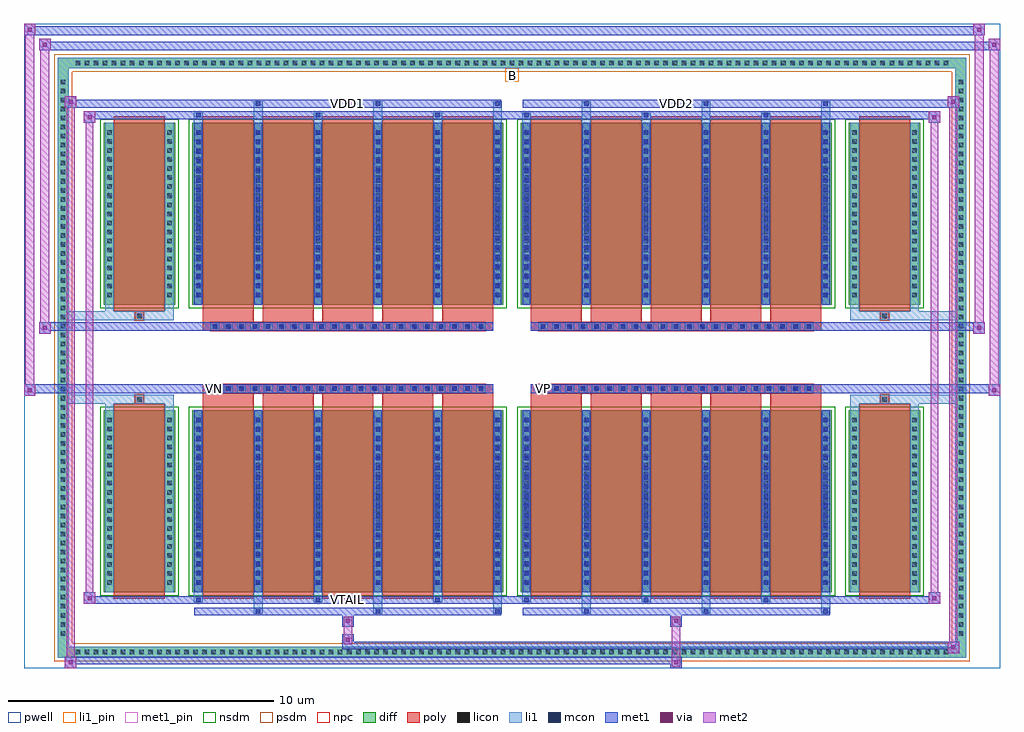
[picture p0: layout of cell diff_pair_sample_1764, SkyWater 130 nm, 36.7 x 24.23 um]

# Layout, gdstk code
import gdstk
lib = gdstk.Library(unit=1e-6, precision=5e-09)
def R(c, l, rs):  # rectangles x0, y0, x1, y1
    for r in rs: c.add(gdstk.rectangle(r[:2], r[2:], *l))
def A(c, l, x, y, w, h, nx, ny, dx, dy):  # array of equal rectangles
    R(c, l, [(x+i*dx, y+j*dy, x+i*dx+w, y+j*dy+h) for i in range(nx) for j in range(ny)])
def P(c, l, *ps):  # polygons
    for p in ps: c.add(gdstk.Polygon(p, *l))
pwell = (64, 44)
diff = (65, 20)
poly = (66, 20)
licon = (66, 44)
li1_pin = (67, 16)
li1 = (67, 20)
mcon = (67, 44)
met1_pin = (68, 16)
met1 = (68, 20)
via = (68, 44)
met2 = (69, 20)
nsdm = (93, 44)
psdm = (94, 20)
npc = (95, 20)

diff_pair_sample_1764 = lib.new_cell('diff_pair_sample_1764')
R(diff_pair_sample_1764, pwell, [(-18.35,-11.68,18.35,12.55), (-15.67,-9.87,-0.01,-0.805), (0.01,-9.87,15.67,-0.805), (-15.67,0.805,-0.01,9.87), (0.01,0.805,15.67,9.87)])
A(diff_pair_sample_1764, diff, -16.525, -11.28, 0.41, 0.41, 97, 2, 0.34, 22.15)
A(diff_pair_sample_1764, diff, -17.08, -10.575, 0.41, 0.41, 1, 62, 0, 0.34)
A(diff_pair_sample_1764, diff, 16.67, -10.575, 0.41, 0.41, 1, 62, 0, 0.34)
R(diff_pair_sample_1764, diff, [(-16.525,-11.28,16.525,-10.87), (-17.08,-10.575,-16.67,10.575), (16.67,-10.575,17.08,10.575), (-15.36,-8.825,-12.66,-1.985), (-12.02,-8.825,-0.32,-1.985), (0.32,-8.825,12.02,-1.985), (12.66,-8.825,15.36,-1.985), (-15.36,1.985,-12.66,8.825), (-12.02,1.985,-0.32,8.825), (0.32,1.985,12.02,8.825), (12.66,1.985,15.36,8.825), (-16.525,10.87,16.525,11.28)])
P(diff_pair_sample_1764, diff, [(17.08,11.28),(-17.08,11.28),(-17.08,-10.87),(-16.67,-10.87),(-16.67,10.87),(16.67,10.87),(16.67,-10.87),(-16.67,-10.87),(-17.08,-10.87),(-17.08,-11.28),(17.08,-11.28)])
A(diff_pair_sample_1764, poly, -11.63, -9.075, 1.92, 7.34, 5, 2, 2.25, 10.81)
A(diff_pair_sample_1764, poly, 0.71, -9.075, 1.92, 7.34, 5, 2, 2.25, 10.81)
A(diff_pair_sample_1764, poly, -11.63, -1.735, 1.92, 0.4, 5, 2, 2.25, 3.07)
A(diff_pair_sample_1764, poly, 0.71, -1.735, 1.92, 0.4, 5, 2, 2.25, 3.07)
A(diff_pair_sample_1764, poly, -11.335, -1.335, 0.33, 0.33, 21, 2, 0.5, 2.34)
A(diff_pair_sample_1764, poly, 1.005, -1.335, 0.33, 0.33, 21, 2, 0.5, 2.34)
R(diff_pair_sample_1764, poly, [(-14.97,-9.075,-13.05,-1.735), (13.05,-9.075,14.97,-1.735), (-14.175,-1.735,-13.845,-1.405), (-14.175,-1.735,-13.845,-1.405), (13.845,-1.735,14.175,-1.405), (13.845,-1.735,14.175,-1.405), (-11.63,-1.335,-0.71,-1.005), (0.71,-1.335,11.63,-1.005), (-11.63,1.005,-0.71,1.335), (0.71,1.005,11.63,1.335), (-14.175,1.405,-13.845,1.735), (-14.175,1.405,-13.845,1.735), (13.845,1.405,14.175,1.735), (13.845,1.405,14.175,1.735), (-14.97,1.735,-13.05,9.075), (13.05,1.735,14.97,9.075)])
A(diff_pair_sample_1764, licon, -16.405, -11.16, 0.17, 0.17, 97, 2, 0.34, 22.15)
A(diff_pair_sample_1764, licon, -16.96, -10.455, 0.17, 0.17, 1, 62, 0, 0.34)
A(diff_pair_sample_1764, licon, 16.79, -10.455, 0.17, 0.17, 1, 62, 0, 0.34)
A(diff_pair_sample_1764, licon, -15.22, -8.55, 0.17, 0.17, 1, 19, 0, 0.34)
A(diff_pair_sample_1764, licon, -12.97, -8.55, 0.17, 0.17, 1, 19, 0, 0.34)
A(diff_pair_sample_1764, licon, -11.88, -8.55, 0.17, 0.17, 6, 19, 2.25, 0.34)
A(diff_pair_sample_1764, licon, 0.46, -8.55, 0.17, 0.17, 6, 19, 2.25, 0.34)
A(diff_pair_sample_1764, licon, 12.8, -8.55, 0.17, 0.17, 1, 19, 0, 0.34)
A(diff_pair_sample_1764, licon, 15.05, -8.55, 0.17, 0.17, 1, 19, 0, 0.34)
A(diff_pair_sample_1764, licon, -11.255, -1.255, 0.17, 0.17, 21, 2, 0.5, 2.34)
A(diff_pair_sample_1764, licon, 1.085, -1.255, 0.17, 0.17, 21, 2, 0.5, 2.34)
A(diff_pair_sample_1764, licon, -15.22, 2.26, 0.17, 0.17, 1, 19, 0, 0.34)
A(diff_pair_sample_1764, licon, -12.97, 2.26, 0.17, 0.17, 1, 19, 0, 0.34)
A(diff_pair_sample_1764, licon, -11.88, 2.26, 0.17, 0.17, 6, 19, 2.25, 0.34)
A(diff_pair_sample_1764, licon, 0.46, 2.26, 0.17, 0.17, 6, 19, 2.25, 0.34)
A(diff_pair_sample_1764, licon, 12.8, 2.26, 0.17, 0.17, 1, 19, 0, 0.34)
A(diff_pair_sample_1764, licon, 15.05, 2.26, 0.17, 0.17, 1, 19, 0, 0.34)
R(diff_pair_sample_1764, licon, [(-14.095,-1.655,-13.925,-1.485), (13.925,-1.655,14.095,-1.485), (-14.095,1.485,-13.925,1.655), (13.925,1.485,14.095,1.655)])
R(diff_pair_sample_1764, li1_pin, [(-0.25,10.37,0.25,10.87)])
A(diff_pair_sample_1764, li1, -16.485, -11.24, 0.33, 0.33, 97, 2, 0.34, 22.15)
A(diff_pair_sample_1764, li1, -17.04, -10.535, 0.33, 0.33, 1, 62, 0, 0.34)
A(diff_pair_sample_1764, li1, 16.71, -10.535, 0.33, 0.33, 1, 62, 0, 0.34)
A(diff_pair_sample_1764, li1, -9.71, -9.63, 0.33, 0.805, 3, 2, 4.5, 18.455)
A(diff_pair_sample_1764, li1, -9.63, -9.63, 0.17, 0.17, 3, 2, 4.5, 19.09)
A(diff_pair_sample_1764, li1, 2.63, -9.63, 0.33, 0.805, 3, 2, 4.5, 18.455)
A(diff_pair_sample_1764, li1, 2.71, -9.63, 0.17, 0.17, 3, 2, 4.5, 19.09)
A(diff_pair_sample_1764, li1, -11.96, -9.2, 0.33, 0.375, 3, 2, 4.5, 18.025)
A(diff_pair_sample_1764, li1, -11.88, -9.2, 0.17, 0.17, 3, 2, 4.5, 18.23)
A(diff_pair_sample_1764, li1, 0.38, -9.2, 0.33, 0.375, 3, 2, 4.5, 18.025)
A(diff_pair_sample_1764, li1, 0.46, -9.2, 0.17, 0.17, 3, 2, 4.5, 18.23)
A(diff_pair_sample_1764, li1, -11.96, -8.825, 0.33, 6.84, 6, 2, 2.25, 10.81)
A(diff_pair_sample_1764, li1, 0.38, -8.825, 0.33, 6.84, 6, 2, 2.25, 10.81)
A(diff_pair_sample_1764, li1, -15.3, -8.63, 0.33, 0.33, 1, 19, 0, 0.34)
A(diff_pair_sample_1764, li1, -13.05, -8.63, 0.33, 0.33, 1, 19, 0, 0.34)
A(diff_pair_sample_1764, li1, -11.96, -8.63, 0.33, 0.33, 6, 19, 2.25, 0.34)
A(diff_pair_sample_1764, li1, 0.38, -8.63, 0.33, 0.33, 6, 19, 2.25, 0.34)
A(diff_pair_sample_1764, li1, 12.72, -8.63, 0.33, 0.33, 1, 19, 0, 0.34)
A(diff_pair_sample_1764, li1, 14.97, -8.63, 0.33, 0.33, 1, 19, 0, 0.34)
A(diff_pair_sample_1764, li1, -11.88, -8.55, 0.17, 0.17, 6, 18, 2.25, 0.36)
A(diff_pair_sample_1764, li1, -11.88, -8.55, 0.17, 6.29, 6, 2, 2.25, 10.81)
A(diff_pair_sample_1764, li1, 0.46, -8.55, 0.17, 0.17, 6, 18, 2.25, 0.36)
A(diff_pair_sample_1764, li1, 0.46, -8.55, 0.17, 6.29, 6, 2, 2.25, 10.81)
A(diff_pair_sample_1764, li1, -11.335, -1.335, 0.33, 0.33, 21, 2, 0.5, 2.34)
A(diff_pair_sample_1764, li1, 1.005, -1.335, 0.33, 0.33, 21, 2, 0.5, 2.34)
A(diff_pair_sample_1764, li1, -15.3, 2.18, 0.33, 0.33, 1, 19, 0, 0.34)
A(diff_pair_sample_1764, li1, -13.05, 2.18, 0.33, 0.33, 1, 19, 0, 0.34)
A(diff_pair_sample_1764, li1, -11.96, 2.18, 0.33, 0.33, 6, 19, 2.25, 0.34)
A(diff_pair_sample_1764, li1, 0.38, 2.18, 0.33, 0.33, 6, 19, 2.25, 0.34)
A(diff_pair_sample_1764, li1, 12.72, 2.18, 0.33, 0.33, 1, 19, 0, 0.34)
A(diff_pair_sample_1764, li1, 14.97, 2.18, 0.33, 0.33, 1, 19, 0, 0.34)
A(diff_pair_sample_1764, li1, -11.88, 2.26, 0.17, 0.17, 6, 18, 2.25, 0.36)
A(diff_pair_sample_1764, li1, 0.46, 2.26, 0.17, 0.17, 6, 18, 2.25, 0.36)
R(diff_pair_sample_1764, li1, [(-17.08,-11.28,-16.67,-10.87), (-17.08,-11.28,-16.67,-10.87), (-16.67,-11.28,16.67,-10.87), (16.67,-11.28,17.08,-10.87), (16.67,-11.28,17.08,-10.87), (-17.08,-10.87,-16.67,10.87), (16.67,-10.87,17.08,10.87), (-15.3,-8.825,-14.97,-1.985), (-13.05,-8.825,-12.72,-1.985), (12.72,-8.825,13.05,-1.985), (14.97,-8.825,15.3,-1.985), (-15.3,-1.985,-14.97,-1.405), (-13.05,-1.985,-12.72,-1.405), (12.72,-1.985,13.05,-1.405), (14.97,-1.985,15.3,-1.405), (-17.08,-1.735,-14.175,-1.405), (-15.3,-1.735,-14.175,-1.405), (-14.175,-1.735,-13.845,-1.405), (-13.845,-1.735,-12.72,-1.405), (12.72,-1.735,13.845,-1.405), (13.845,-1.735,14.175,-1.405), (13.845,-1.735,17.08,-1.405), (14.175,-1.735,15.3,-1.405), (-17.08,1.405,-14.175,1.735), (-15.3,1.405,-14.175,1.735), (-15.3,1.405,-14.97,1.985), (-14.175,1.405,-13.845,1.735), (-13.845,1.405,-12.72,1.735), (-13.05,1.405,-12.72,1.985), (12.72,1.405,13.845,1.735), (12.72,1.405,13.05,1.985), (13.845,1.405,14.175,1.735), (13.845,1.405,17.08,1.735), (14.175,1.405,15.3,1.735), (14.97,1.405,15.3,1.985), (-15.3,1.985,-14.97,8.825), (-13.05,1.985,-12.72,8.825), (12.72,1.985,13.05,8.825), (14.97,1.985,15.3,8.825), (-17.08,10.87,-16.67,11.28), (-17.08,10.87,-16.67,11.28), (-16.67,10.87,16.67,11.28), (16.67,10.87,17.08,11.28), (16.67,10.87,17.08,11.28)])
A(diff_pair_sample_1764, mcon, -9.63, -9.63, 0.17, 0.17, 3, 2, 4.5, 19.09)
A(diff_pair_sample_1764, mcon, 2.71, -9.63, 0.17, 0.17, 3, 2, 4.5, 19.09)
A(diff_pair_sample_1764, mcon, -11.88, -9.2, 0.17, 0.17, 3, 2, 4.5, 18.23)
A(diff_pair_sample_1764, mcon, 0.46, -9.2, 0.17, 0.17, 3, 2, 4.5, 18.23)
A(diff_pair_sample_1764, mcon, -11.88, -8.55, 0.17, 0.17, 6, 18, 2.25, 0.36)
A(diff_pair_sample_1764, mcon, 0.46, -8.55, 0.17, 0.17, 6, 18, 2.25, 0.36)
A(diff_pair_sample_1764, mcon, -11.255, -1.255, 0.17, 0.17, 21, 2, 0.5, 2.34)
A(diff_pair_sample_1764, mcon, 1.085, -1.255, 0.17, 0.17, 21, 2, 0.5, 2.34)
A(diff_pair_sample_1764, mcon, -11.88, 2.26, 0.17, 0.17, 6, 18, 2.25, 0.36)
A(diff_pair_sample_1764, mcon, 0.46, 2.26, 0.17, 0.17, 6, 18, 2.25, 0.36)
R(diff_pair_sample_1764, met1_pin, [(-6.305,-9.24,-6.035,-8.97), (-11.305,-1.295,-11.035,-1.025), (1.035,-1.295,1.305,-1.025), (-6.305,9.42,-6.035,9.69), (6.035,9.42,6.305,9.69)])
A(diff_pair_sample_1764, met1, -9.69, -9.69, 0.29, 0.29, 3, 2, 4.5, 19.09)
A(diff_pair_sample_1764, met1, 2.65, -9.69, 0.29, 0.29, 3, 2, 4.5, 19.09)
A(diff_pair_sample_1764, met1, -11.94, -9.26, 0.29, 0.29, 3, 2, 4.5, 18.23)
A(diff_pair_sample_1764, met1, 0.4, -9.26, 0.29, 0.29, 3, 2, 4.5, 18.23)
A(diff_pair_sample_1764, met1, -11.94, -8.825, 0.29, 6.84, 6, 2, 2.25, 10.81)
A(diff_pair_sample_1764, met1, 0.4, -8.825, 0.29, 6.84, 6, 2, 2.25, 10.81)
A(diff_pair_sample_1764, met1, -11.94, -8.61, 0.29, 0.29, 6, 18, 2.25, 0.36)
A(diff_pair_sample_1764, met1, 0.4, -8.61, 0.29, 0.29, 6, 18, 2.25, 0.36)
A(diff_pair_sample_1764, met1, -11.315, -1.315, 0.29, 0.29, 21, 2, 0.5, 2.34)
A(diff_pair_sample_1764, met1, 1.025, -1.315, 0.29, 0.29, 21, 2, 0.5, 2.34)
A(diff_pair_sample_1764, met1, -11.94, 2.2, 0.29, 0.29, 6, 18, 2.25, 0.36)
A(diff_pair_sample_1764, met1, 0.4, 2.2, 0.29, 0.29, 6, 18, 2.25, 0.36)
R(diff_pair_sample_1764, met1, [(-16.81,-11.68,-16.38,-11.25), (5.955,-11.68,6.385,-11.25), (-16.81,-11.54,6.385,-11.25), (16.38,-11.11,16.81,-10.68), (-6.385,-10.97,16.81,-10.68), (-6.385,-10.83,-5.955,-10.4), (-6.385,-10.12,-5.955,-9.69), (5.955,-10.12,6.385,-9.69), (-11.94,-9.69,-0.4,-9.4), (0.4,-9.69,11.94,-9.4), (-16.1,-9.26,-15.67,-8.83), (-16.1,-9.26,-11.94,-8.97), (-11.94,-9.26,-0.4,-8.97), (-0.4,-9.26,0.4,-8.97), (0.4,-9.26,11.94,-8.97), (11.94,-9.26,16.1,-8.97), (15.67,-9.26,16.1,-8.83), (-18.35,-1.435,-17.92,-1.005), (17.92,-1.435,18.35,-1.005), (-18.35,-1.335,-0.71,-1.005), (-11.63,-1.335,-0.71,-1.005), (0.71,-1.335,11.63,-1.005), (0.71,-1.335,18.35,-1.005), (-17.78,0.905,-17.35,1.335), (17.35,0.905,17.78,1.335), (-17.78,1.005,-11.63,1.335), (-11.63,1.005,-0.71,1.335), (0.71,1.005,11.63,1.335), (11.63,1.005,17.78,1.335), (-16.1,8.83,-15.67,9.26), (15.67,8.83,16.1,9.26), (-16.1,8.97,-11.94,9.26), (-11.94,8.97,-0.4,9.26), (-0.4,8.97,0.4,9.26), (0.4,8.97,11.94,9.26), (11.94,8.97,16.1,9.26), (-16.81,9.4,-16.38,9.83), (-16.81,9.4,-11.94,9.69), (-11.94,9.4,-0.4,9.69), (0.4,9.4,11.94,9.69), (11.94,9.4,16.81,9.69), (16.38,9.4,16.81,9.83), (-17.78,11.55,-17.35,11.98), (-17.78,11.55,-15.67,11.88), (-15.67,11.55,15.67,11.88), (15.67,11.55,18.35,11.88), (17.92,11.55,18.35,11.98), (-18.35,12.12,-17.92,12.55), (-18.35,12.12,-15.67,12.45), (-15.67,12.12,15.67,12.45), (15.67,12.12,17.78,12.45), (17.35,12.12,17.78,12.55)])
R(diff_pair_sample_1764, via, [(-16.67,-11.54,-16.52,-11.39), (6.095,-11.54,6.245,-11.39), (16.52,-10.97,16.67,-10.82), (-6.245,-10.69,-6.095,-10.54), (-6.245,-9.98,-6.095,-9.83), (6.095,-9.98,6.245,-9.83), (-15.96,-9.12,-15.81,-8.97), (15.81,-9.12,15.96,-8.97), (-18.21,-1.295,-18.06,-1.145), (18.06,-1.295,18.21,-1.145), (-17.64,1.045,-17.49,1.195), (17.49,1.045,17.64,1.195), (-15.96,8.97,-15.81,9.12), (15.81,8.97,15.96,9.12), (-16.67,9.54,-16.52,9.69), (16.52,9.54,16.67,9.69), (-17.64,11.69,-17.49,11.84), (18.06,11.69,18.21,11.84), (-18.21,12.26,-18.06,12.41), (17.49,12.26,17.64,12.41)])
R(diff_pair_sample_1764, met2, [(-16.81,-11.68,-16.38,-11.25), (-16.74,-11.68,-16.45,9.83), (-16.45,-11.68,-16.38,-11.25), (-16.76,-11.63,-16.43,-11.3), (6.005,-11.63,6.335,-11.3), (6.005,-11.3,6.335,-10.07), (16.38,-11.11,16.81,-10.68), (16.45,-11.11,16.74,9.83), (16.74,-11.11,16.81,-10.68), (16.43,-11.06,16.76,-10.73), (-6.335,-10.78,-6.005,-10.45), (-6.335,-10.45,-6.005,-10.07), (-6.335,-10.07,-6.005,-9.74), (6.005,-10.07,6.335,-9.74), (-16.1,-9.26,-15.67,-8.83), (-16.03,-9.26,-15.74,9.26), (-15.74,-9.26,-15.67,-8.83), (15.67,-9.26,16.1,-8.83), (15.74,-9.26,16.03,9.26), (16.03,-9.26,16.1,-8.83), (-16.05,-9.21,-15.72,-8.88), (15.72,-9.21,16.05,-8.88), (-18.35,-1.435,-17.92,-1.005), (-18.3,-1.435,-17.97,12.55), (-17.97,-1.435,-17.92,-1.005), (17.92,-1.435,18.35,-1.005), (17.97,-1.435,18.3,11.98), (18.3,-1.435,18.35,-1.005), (-18.3,-1.385,-17.97,-1.055), (17.97,-1.385,18.3,-1.055), (-17.78,0.905,-17.35,1.335), (-17.73,0.905,-17.4,11.98), (-17.4,0.905,-17.35,1.335), (17.35,0.905,17.78,1.335), (17.4,0.905,17.73,12.55), (17.73,0.905,17.78,1.335), (-17.73,0.955,-17.4,1.285), (17.4,0.955,17.73,1.285), (-16.1,8.83,-15.67,9.26), (-15.74,8.83,-15.67,9.26), (15.67,8.83,16.1,9.26), (16.03,8.83,16.1,9.26), (-16.05,8.88,-15.72,9.21), (15.72,8.88,16.05,9.21), (-16.81,9.4,-16.38,9.83), (-16.45,9.4,-16.38,9.83), (16.38,9.4,16.81,9.83), (16.74,9.4,16.81,9.83), (-16.76,9.45,-16.43,9.78), (16.43,9.45,16.76,9.78), (-17.78,11.55,-17.35,11.98), (-17.4,11.55,-17.35,11.98), (17.92,11.55,18.35,11.98), (18.3,11.55,18.35,11.98), (-17.73,11.6,-17.4,11.93), (17.97,11.6,18.3,11.93), (-18.35,12.12,-17.92,12.55), (-17.97,12.12,-17.92,12.55), (17.35,12.12,17.78,12.55), (17.73,12.12,17.78,12.55), (-18.3,12.17,-17.97,12.5), (17.4,12.17,17.73,12.5)])
R(diff_pair_sample_1764, nsdm, [(-15.49,-8.955,-12.53,-1.855), (-12.15,-8.955,-0.19,-1.855), (0.19,-8.955,12.15,-1.855), (12.53,-8.955,15.49,-1.855), (-15.49,1.855,-12.53,8.955), (-12.15,1.855,-0.19,8.955), (0.19,1.855,12.15,8.955), (12.53,1.855,15.49,8.955)])
P(diff_pair_sample_1764, psdm, [(17.21,11.41),(-17.21,11.41),(-17.21,-10.74),(-16.54,-10.74),(-16.54,10.74),(16.54,10.74),(16.54,-10.74),(-16.54,-10.74),(-17.21,-10.74),(-17.21,-11.41),(17.21,-11.41)])
A(diff_pair_sample_1764, npc, -11.355, -1.355, 0.37, 0.37, 21, 2, 0.5, 2.34)
A(diff_pair_sample_1764, npc, 0.985, -1.355, 0.37, 0.37, 21, 2, 0.5, 2.34)
R(diff_pair_sample_1764, npc, [(-14.195,-1.755,-13.825,-1.385), (13.825,-1.755,14.195,-1.385), (-11.355,-1.355,-10.485,-0.985), (-11.355,-1.355,-10.485,-0.985), (-10.855,-1.355,-9.985,-0.985), (-10.855,-1.355,-9.985,-0.985), (-10.355,-1.355,-9.485,-0.985), (-10.355,-1.355,-9.485,-0.985), (-9.855,-1.355,-8.985,-0.985), (-9.855,-1.355,-8.985,-0.985), (-9.355,-1.355,-8.485,-0.985), (-9.355,-1.355,-8.485,-0.985), (-8.855,-1.355,-7.985,-0.985), (-8.855,-1.355,-7.985,-0.985), (-8.355,-1.355,-7.485,-0.985), (-8.355,-1.355,-7.485,-0.985), (-7.855,-1.355,-6.985,-0.985), (-7.855,-1.355,-6.985,-0.985), (-7.355,-1.355,-6.485,-0.985), (-7.355,-1.355,-6.485,-0.985), (-6.855,-1.355,-5.985,-0.985), (-6.855,-1.355,-5.985,-0.985), (-6.355,-1.355,-5.485,-0.985), (-6.355,-1.355,-5.485,-0.985), (-5.855,-1.355,-4.985,-0.985), (-5.855,-1.355,-4.985,-0.985), (-5.355,-1.355,-4.485,-0.985), (-5.355,-1.355,-4.485,-0.985), (-4.855,-1.355,-3.985,-0.985), (-4.855,-1.355,-3.985,-0.985), (-4.355,-1.355,-3.485,-0.985), (-4.355,-1.355,-3.485,-0.985), (-3.855,-1.355,-2.985,-0.985), (-3.855,-1.355,-2.985,-0.985), (-3.355,-1.355,-2.485,-0.985), (-3.355,-1.355,-2.485,-0.985), (-2.855,-1.355,-1.985,-0.985), (-2.855,-1.355,-1.985,-0.985), (-2.355,-1.355,-1.485,-0.985), (-2.355,-1.355,-1.485,-0.985), (-1.855,-1.355,-0.985,-0.985), (-1.855,-1.355,-0.985,-0.985), (0.985,-1.355,1.855,-0.985), (0.985,-1.355,1.855,-0.985), (1.485,-1.355,2.355,-0.985), (1.485,-1.355,2.355,-0.985), (1.985,-1.355,2.855,-0.985), (1.985,-1.355,2.855,-0.985), (2.485,-1.355,3.355,-0.985), (2.485,-1.355,3.355,-0.985), (2.985,-1.355,3.855,-0.985), (2.985,-1.355,3.855,-0.985), (3.485,-1.355,4.355,-0.985), (3.485,-1.355,4.355,-0.985), (3.985,-1.355,4.855,-0.985), (3.985,-1.355,4.855,-0.985), (4.485,-1.355,5.355,-0.985), (4.485,-1.355,5.355,-0.985), (4.985,-1.355,5.855,-0.985), (4.985,-1.355,5.855,-0.985), (5.485,-1.355,6.355,-0.985), (5.485,-1.355,6.355,-0.985), (5.985,-1.355,6.855,-0.985), (5.985,-1.355,6.855,-0.985), (6.485,-1.355,7.355,-0.985), (6.485,-1.355,7.355,-0.985), (6.985,-1.355,7.855,-0.985), (6.985,-1.355,7.855,-0.985), (7.485,-1.355,8.355,-0.985), (7.485,-1.355,8.355,-0.985), (7.985,-1.355,8.855,-0.985), (7.985,-1.355,8.855,-0.985), (8.485,-1.355,9.355,-0.985), (8.485,-1.355,9.355,-0.985), (8.985,-1.355,9.855,-0.985), (8.985,-1.355,9.855,-0.985), (9.485,-1.355,10.355,-0.985), (9.485,-1.355,10.355,-0.985), (9.985,-1.355,10.855,-0.985), (9.985,-1.355,10.855,-0.985), (10.485,-1.355,11.355,-0.985), (10.485,-1.355,11.355,-0.985), (-11.355,0.985,-10.485,1.355), (-11.355,0.985,-10.485,1.355), (-10.855,0.985,-9.985,1.355), (-10.855,0.985,-9.985,1.355), (-10.355,0.985,-9.485,1.355), (-10.355,0.985,-9.485,1.355), (-9.855,0.985,-8.985,1.355), (-9.855,0.985,-8.985,1.355), (-9.355,0.985,-8.485,1.355), (-9.355,0.985,-8.485,1.355), (-8.855,0.985,-7.985,1.355), (-8.855,0.985,-7.985,1.355), (-8.355,0.985,-7.485,1.355), (-8.355,0.985,-7.485,1.355), (-7.855,0.985,-6.985,1.355), (-7.855,0.985,-6.985,1.355), (-7.355,0.985,-6.485,1.355), (-7.355,0.985,-6.485,1.355), (-6.855,0.985,-5.985,1.355), (-6.855,0.985,-5.985,1.355), (-6.355,0.985,-5.485,1.355), (-6.355,0.985,-5.485,1.355), (-5.855,0.985,-4.985,1.355), (-5.855,0.985,-4.985,1.355), (-5.355,0.985,-4.485,1.355), (-5.355,0.985,-4.485,1.355), (-4.855,0.985,-3.985,1.355), (-4.855,0.985,-3.985,1.355), (-4.355,0.985,-3.485,1.355), (-4.355,0.985,-3.485,1.355), (-3.855,0.985,-2.985,1.355), (-3.855,0.985,-2.985,1.355), (-3.355,0.985,-2.485,1.355), (-3.355,0.985,-2.485,1.355), (-2.855,0.985,-1.985,1.355), (-2.855,0.985,-1.985,1.355), (-2.355,0.985,-1.485,1.355), (-2.355,0.985,-1.485,1.355), (-1.855,0.985,-0.985,1.355), (-1.855,0.985,-0.985,1.355), (0.985,0.985,1.855,1.355), (0.985,0.985,1.855,1.355), (1.485,0.985,2.355,1.355), (1.485,0.985,2.355,1.355), (1.985,0.985,2.855,1.355), (1.985,0.985,2.855,1.355), (2.485,0.985,3.355,1.355), (2.485,0.985,3.355,1.355), (2.985,0.985,3.855,1.355), (2.985,0.985,3.855,1.355), (3.485,0.985,4.355,1.355), (3.485,0.985,4.355,1.355), (3.985,0.985,4.855,1.355), (3.985,0.985,4.855,1.355), (4.485,0.985,5.355,1.355), (4.485,0.985,5.355,1.355), (4.985,0.985,5.855,1.355), (4.985,0.985,5.855,1.355), (5.485,0.985,6.355,1.355), (5.485,0.985,6.355,1.355), (5.985,0.985,6.855,1.355), (5.985,0.985,6.855,1.355), (6.485,0.985,7.355,1.355), (6.485,0.985,7.355,1.355), (6.985,0.985,7.855,1.355), (6.985,0.985,7.855,1.355), (7.485,0.985,8.355,1.355), (7.485,0.985,8.355,1.355), (7.985,0.985,8.855,1.355), (7.985,0.985,8.855,1.355), (8.485,0.985,9.355,1.355), (8.485,0.985,9.355,1.355), (8.985,0.985,9.855,1.355), (8.985,0.985,9.855,1.355), (9.485,0.985,10.355,1.355), (9.485,0.985,10.355,1.355), (9.985,0.985,10.855,1.355), (9.985,0.985,10.855,1.355), (10.485,0.985,11.355,1.355), (10.485,0.985,11.355,1.355), (-14.195,1.385,-13.825,1.755), (13.825,1.385,14.195,1.755)])
diff_pair_sample_1764.add(gdstk.Label('VTAIL', (-6.17,-9.105), layer=68, texttype=5))
diff_pair_sample_1764.add(gdstk.Label('VN', (-11.17,-1.16), layer=68, texttype=5))
diff_pair_sample_1764.add(gdstk.Label('VP', (1.17,-1.16), layer=68, texttype=5))
diff_pair_sample_1764.add(gdstk.Label('B', (0,10.62), layer=67, texttype=5))
diff_pair_sample_1764.add(gdstk.Label('VDD2', (6.17,9.555), layer=68, texttype=5))
diff_pair_sample_1764.add(gdstk.Label('VDD1', (-6.17,9.555), layer=68, texttype=5))

lib.write_gds('diff_pair_sample_1764.gds')
